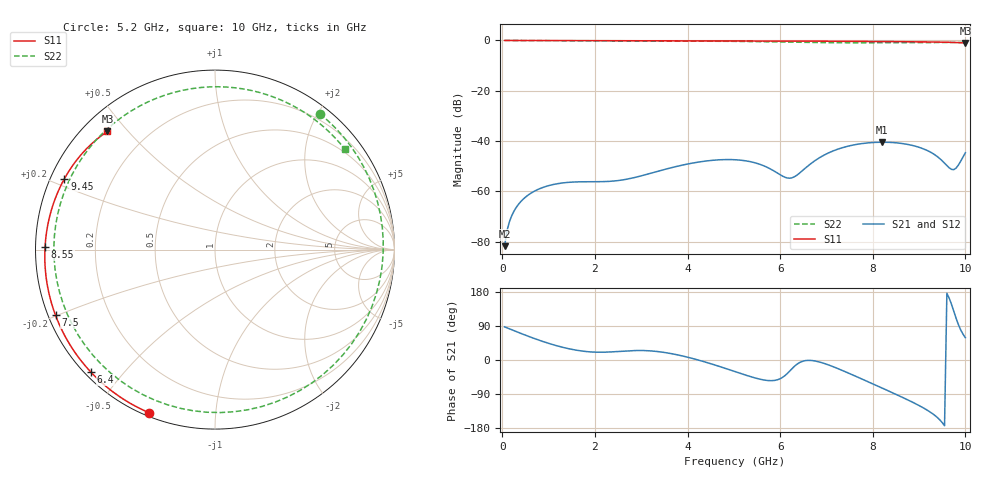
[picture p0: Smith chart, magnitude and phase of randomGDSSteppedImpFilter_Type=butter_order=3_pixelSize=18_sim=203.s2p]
! freq	dB(S11)	phase(S11)	dB(S12)	phase(S12)
!  dB(S21)	phase(S21)	dB(S22)	phase(S22)
!S-par simulation data
#  GHz  S  DB  R 50
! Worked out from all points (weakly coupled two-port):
!   200 points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, 50 MHz to 10 GHz, reference 50 ohm
!   highest |S21| = -40.46 dB at 8.2 GHz (marker M1); lowest = -81.8 dB at 50 MHz (marker M2)
!   lowest |S11| = -1.0 dB at 10 GHz (marker M3), VSWR 17.22, Z = 3.47 + j22 ohm
!   |S11| at or under -10 dB: nowhere
!   |S22| runs from -0.9 to 0.0 dB; largest |S21 - S12| = 0
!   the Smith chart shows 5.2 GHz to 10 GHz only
!   S11 on the Smith chart (normalised r, x): 5.2 GHz: 0.01, -0.67; 6.4 GHz: 0.02, -0.41; 7.5 GHz: 0.02, -0.20; 8.55 GHz: 0.03, +0.01; 9.45 GHz: 0.04, +0.22; 10 GHz: 0.07, +0.44
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0.05  -0.00 -1.2  -81.81 87.5  -81.81 87.5  -0.00 -3.9
0.25  -0.01 -5.8  -67.95 77.5  -67.95 77.5  -0.03 -19.3
0.55  -0.02 -12.8  -61.59 63.1  -61.59 63.1  -0.06 -41.8
1.1  -0.03 -25.4  -57.29 40.3  -57.29 40.3  -0.09 -80.1
1.75  -0.05 -40.1  -56.19 23.2  -56.19 23.2  -0.12 -119.5
2.55  -0.07 -57.7  -55.60 23.0  -55.60 23.0  -0.15 -161.2
3.4  -0.10 -75.7  -51.82 21.6  -51.82 21.6  -0.18 157.5
4.35  -0.13 -95.1  -48.05 -4.2  -48.05 -4.2  -0.26 107.8
5.05  -0.17 -109.0  -47.46 -31.6  -47.46 -31.6  -0.36 63.2
5.2  -0.17 -112.0  -47.72 -37.6  -47.72 -37.6  -0.39 52.3
5.85  -0.21 -124.7  -51.72 -54.3  -51.72 -54.3  -0.57 -1.5
6.15  -0.23 -130.5  -54.68 -36.1  -54.68 -36.1  -0.66 -29.5
6.4  -0.25 -135.4  -53.03 -8.1  -53.03 -8.1  -0.74 -53.8
6.7  -0.27 -141.4  -48.47 -1.6  -48.47 -1.6  -0.82 -83.2
7.05  -0.30 -148.4  -44.67 -13.3  -44.67 -13.3  -0.89 -116.5
7.5  -0.35 -157.6  -41.90 -35.9  -41.90 -35.9  -0.93 -156.4
8.2  -0.43 -172.7  -40.46 -73.9  -40.46 -73.9  -0.92 148.9
8.35  -0.45 -176.1  -40.51 -82.2  -40.51 -82.2  -0.91 138.2
8.55  -0.47 179.2  -40.79 -93.4  -40.79 -93.4  -0.89 124.4
9.45  -0.66 154.8  -47.03 -158.2  -47.03 -158.2  -0.81 68.0
9.75  -0.79 144.0  -51.37 128.6  -51.37 128.6  -0.79 51.1
10  -1.01 132.3  -44.65 58.9  -44.65 58.9  -0.78 37.8
